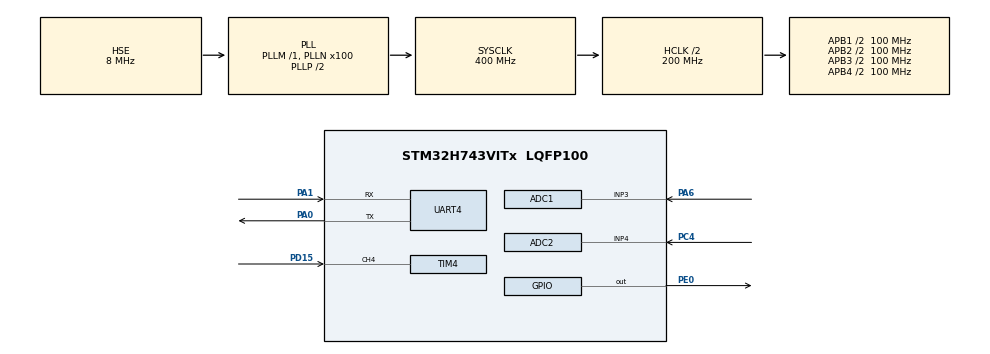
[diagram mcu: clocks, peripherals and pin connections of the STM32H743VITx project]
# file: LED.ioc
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ADC1.Channel-0\#ChannelRegularConversion=ADC_CHANNEL_3
ADC1.ConversionDataManagement=ADC_CONVERSIONDATA_DMA_CIRCULAR
ADC1.ExternalTrigConv=ADC_EXTERNALTRIG_T3_TRGO
ADC1.NbrOfConversion=1
ADC1.NbrOfConversionFlag=1
ADC1.OffsetNumber-0\#ChannelRegularConversion=ADC_OFFSET_NONE
ADC1.OversamplingMode=ENABLE
ADC1.Rank-0\#ChannelRegularConversion=1
ADC1.Ratio=1023
ADC1.RightBitShift=ADC_RIGHTBITSHIFT_10
ADC1.SamplingTime-0\#ChannelRegularConversion=ADC_SAMPLETIME_1CYCLE_5
ADC1.master=1
ADC2.Channel-1\#ChannelRegularConversion=ADC_CHANNEL_4
ADC2.ConversionDataManagement=ADC_CONVERSIONDATA_DMA_CIRCULAR
ADC2.ExternalTrigConv=ADC_EXTERNALTRIG_T4_CC4
ADC2.ExternalTrigConvEdge=ADC_EXTERNALTRIGCONVEDGE_FALLING
ADC2.NbrOfConversionFlag=1
ADC2.OffsetNumber-1\#ChannelRegularConversion=ADC_OFFSET_NONE
ADC2.Rank-1\#ChannelRegularConversion=1
ADC2.Resolution=ADC_RESOLUTION_8B
ADC2.SamplingTime-1\#ChannelRegularConversion=ADC_SAMPLETIME_1CYCLE_5
CORTEX_M7.CPU_DCache=Disabled
CORTEX_M7.CPU_ICache=Disabled
Dma.ADC1.0.Direction=DMA_PERIPH_TO_MEMORY
Dma.ADC1.0.EventEnable=DISABLE
Dma.ADC1.0.FIFOMode=DMA_FIFOMODE_DISABLE
Dma.ADC1.0.Instance=DMA1_Stream0
Dma.ADC1.0.MemDataAlignment=DMA_MDATAALIGN_HALFWORD
Dma.ADC1.0.MemInc=DMA_MINC_ENABLE
Dma.ADC1.0.Mode=DMA_CIRCULAR
Dma.ADC1.0.PeriphDataAlignment=DMA_PDATAALIGN_HALFWORD
Dma.ADC1.0.PeriphInc=DMA_PINC_DISABLE
Dma.ADC1.0.Polarity=HAL_DMAMUX_REQ_GEN_RISING
Dma.ADC1.0.Priority=DMA_PRIORITY_LOW
Dma.ADC1.0.RequestNumber=1
Dma.ADC1.0.SignalID=NONE
Dma.ADC1.0.SyncEnable=DISABLE
Dma.ADC1.0.SyncPolarity=HAL_DMAMUX_SYNC_NO_EVENT
Dma.ADC1.0.SyncRequestNumber=1
Dma.ADC1.0.SyncSignalID=NONE
Dma.ADC2.1.Direction=DMA_PERIPH_TO_MEMORY
Dma.ADC2.1.EventEnable=DISABLE
Dma.ADC2.1.FIFOMode=DMA_FIFOMODE_DISABLE
Dma.ADC2.1.Instance=DMA1_Stream1
Dma.ADC2.1.MemDataAlignment=DMA_MDATAALIGN_HALFWORD
Dma.ADC2.1.MemInc=DMA_MINC_ENABLE
Dma.ADC2.1.Mode=DMA_CIRCULAR
Dma.ADC2.1.PeriphDataAlignment=DMA_PDATAALIGN_HALFWORD
Dma.ADC2.1.PeriphInc=DMA_PINC_DISABLE
Dma.ADC2.1.Polarity=HAL_DMAMUX_REQ_GEN_RISING
Dma.ADC2.1.Priority=DMA_PRIORITY_LOW
Dma.ADC2.1.RequestNumber=1
Dma.ADC2.1.SignalID=NONE
Dma.ADC2.1.SyncEnable=DISABLE
Dma.ADC2.1.SyncPolarity=HAL_DMAMUX_SYNC_NO_EVENT
Dma.ADC2.1.SyncRequestNumber=1
Dma.ADC2.1.SyncSignalID=NONE
Dma.Request0=ADC1
Dma.Request1=ADC2
Mcu.Family=STM32H7
Mcu.Name=STM32H743VITx
Mcu.Package=LQFP100
NVIC.DMA1_Stream0_IRQn=true\:1\:0\:true\:false\:true\:false\:true
NVIC.DMA1_Stream1_IRQn=true\:0\:0\:false\:false\:true\:false\:true
NVIC.PriorityGroup=NVIC_PRIORITYGROUP_4
NVIC.TIM3_IRQn=true\:0\:0\:false\:false\:true\:true\:true
NVIC.UART4_IRQn=true\:0\:0\:false\:false\:true\:true\:true
PA0.Mode=Asynchronous
PA0.Signal=UART4_TX
PA1.Mode=Asynchronous
PA1.Signal=UART4_RX
PA11.Signal=GPXTI11
PA6.Signal=ADCx_INP3
PC4.Signal=ADCx_INP4
PD15.Signal=S_TIM4_CH4
PE0.Signal=GPIO_Output
PH0-OSC_IN\ (PH0).Mode=HSE-External-Oscillator
PH0-OSC_IN\ (PH0).Signal=RCC_OSC_IN
PH1-OSC_OUT\ (PH1).Mode=HSE-External-Oscillator
PH1-OSC_OUT\ (PH1).Signal=RCC_OSC_OUT
ProjectManager.HeapSize=0x200
ProjectManager.StackSize=0x400
ProjectManager.TargetToolchain=MDK-ARM V5
RCC.ADCFreq_Value=76000000
RCC.APB1Freq_Value=100000000
RCC.APB2Freq_Value=100000000
RCC.APB3Freq_Value=100000000
RCC.APB4Freq_Value=100000000
RCC.CortexFreq_Value=400000000
RCC.D1PPRE=RCC_APB3_DIV2
RCC.D2PPRE1=RCC_APB1_DIV2
RCC.D2PPRE2=RCC_APB2_DIV2
RCC.D3PPRE=RCC_APB4_DIV2
RCC.DIVM1=1
RCC.DIVM2=1
RCC.DIVN1=100
RCC.DIVN2=19
RCC.HCLKFreq_Value=200000000
RCC.HPRE=RCC_HCLK_DIV2
RCC.HSE_VALUE=8000000
RCC.PLLSourceVirtual=RCC_PLLSOURCE_HSE
RCC.PWR_Regulator_Voltage_Scale=PWR_REGULATOR_VOLTAGE_SCALE1
RCC.SYSCLKFreq_VALUE=400000000
RCC.SYSCLKSource=RCC_SYSCLKSOURCE_PLLCLK
RCC.USBFreq_Value=400000000
SH.ADCx_INP3.0=ADC1_INP3,IN3-Single-Ended
SH.ADCx_INP4.0=ADC2_INP4,IN4-Single-Ended
SH.S_TIM4_CH4.0=TIM4_CH4,Input_Capture4_from_TI4
TIM3.Period=1000-1
TIM3.Prescaler=100-1
TIM3.TIM_MasterOutputTrigger=TIM_TRGO_UPDATE
TIM3.TIM_MasterSlaveMode=TIM_MASTERSLAVEMODE_DISABLE
TIM4.Channel-Input_Capture4_from_TI4=TIM_CHANNEL_4
TIM4.Period=0xffff
TIM4.TIM_MasterOutputTrigger=TIM_TRGO_RESET
VP_TIM3_VS_ClockSourceINT.Mode=Internal
VP_TIM4_VS_ClockSourceINT.Mode=Internal
board=custom

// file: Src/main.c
/* USER CODE BEGIN Header */
/**
  ******************************************************************************
  * @file           : main.c
  * @brief          : Main program body
  ******************************************************************************
  ** This notice applies to any and all portions of this file
  * that are not between comment pairs USER CODE BEGIN and
  * USER CODE END. Other portions of this file, whether
  * inserted by the user or by software development tools
  * are owned by their respective copyright owners.
  *
  * COPYRIGHT(c) 2019 STMicroelectronics
  *
  * Redistribution and use in source and binary forms, with or without modification,
  * are permitted provided that the following conditions are met:
  *   1. Redistributions of source code must retain the above copyright notice,
  *      this list of conditions and the following disclaimer.
  *   2. Redistributions in binary form must reproduce the above copyright notice,
  *      this list of conditions and the following disclaimer in the documentation
  *      and/or other materials provided with the distribution.
  *   3. Neither the name of STMicroelectronics nor the names of its contributors
  *      may be used to endorse or promote products derived from this software
  *      without specific prior written permission.
  *
  * THIS SOFTWARE IS PROVIDED BY THE COPYRIGHT HOLDERS AND CONTRIBUTORS "AS IS"
  * AND ANY EXPRESS OR IMPLIED WARRANTIES, INCLUDING, BUT NOT LIMITED TO, THE
  * IMPLIED WARRANTIES OF MERCHANTABILITY AND FITNESS FOR A PARTICULAR PURPOSE ARE
  * DISCLAIMED. IN NO EVENT SHALL THE COPYRIGHT HOLDER OR CONTRIBUTORS BE LIABLE
  * FOR ANY DIRECT, INDIRECT, INCIDENTAL, SPECIAL, EXEMPLARY, OR CONSEQUENTIAL
  * DAMAGES (INCLUDING, BUT NOT LIMITED TO, PROCUREMENT OF SUBSTITUTE GOODS OR
  * SERVICES; LOSS OF USE, DATA, OR PROFITS; OR BUSINESS INTERRUPTION) HOWEVER
  * CAUSED AND ON ANY THEORY OF LIABILITY, WHETHER IN CONTRACT, STRICT LIABILITY,
  * OR TORT (INCLUDING NEGLIGENCE OR OTHERWISE) ARISING IN ANY WAY OUT OF THE USE
  * OF THIS SOFTWARE, EVEN IF ADVISED OF THE POSSIBILITY OF SUCH DAMAGE.
  *
  ******************************************************************************
  */
/* USER CODE END Header */

#include "main.h"
#include "adc.h"
#include "dma.h"
#include "tim.h"
#include "usart.h"
#include "gpio.h"

/* USER CODE BEGIN Includes */
#include "arm_math.h"
#include "bdma.h"
#include "lptim.h"
#include "DDS.h"
#include "arm_fir_example_f32.h"
#include "arm_iir_example_f32.h"
#include "dpsk_mod.h"
/* USER CODE END Includes */

void SystemClock_Config(void);
/* USER CODE BEGIN PFP */
u8 buffer[100];
/* USER CODE END PFP */

/* USER CODE BEGIN 0 */
void SysTick_interrupt()			//1ms
{
//	static u32 i;
//	if(i==10)
//	{
//		HAL_UART_Receive(&huart4, (uint8_t *)&buffer, 7, 0xFFFF);
// 		i=0;
//	}
//	i++;
}
/* USER CODE END 0 */

int main(void)
{
  /* USER CODE BEGIN 1 */
  /* Enable I-Cache---------------------------------------------------------*/
//  SCB_EnableICache();

//  /* Enable D-Cache---------------------------------------------------------*/
//  SCB_EnableDCache();
  /* USER CODE END 1 */

  /* MCU Configuration--------------------------------------------------------*/

  /* Reset of all peripherals, Initializes the Flash interface and the Systick. */
  HAL_Init();

  /* Configure the system clock */
  SystemClock_Config();

  /* Initialize all configured peripherals */
  MX_GPIO_Init();
  MX_DMA_Init();
  MX_ADC1_Init();
  MX_TIM3_Init();
  MX_UART4_Init();
  MX_ADC2_Init();
  MX_TIM4_Init();
  /* USER CODE BEGIN 2 */
//  ADC_Tim3_START();		//fs = 2k
  InitSinTable();

  HAL_Delay(2);
  Phase_init();

  SendOneFrameDPSK(0x19D73);

  DDS_init();

//   HAL_Delay(2);

//  SendOneFrameDPSK(0x4567);
// SendOneFrameDPSK(0x19A34);
//
// SendZero(0);
//  HAL_Delay(2);
//SendOneFrameDPSK(0x4567);
//  HAL_Delay(2);
// SendZero(0);

  /* USER CODE END 2 */

  /* Infinite loop */
  while (1)
  {

    /* USER CODE BEGIN 3 */
	  HAL_Delay(100);
  }
  /* USER CODE END 3 */
}

void SystemClock_Config(void)
{
  RCC_OscInitTypeDef RCC_OscInitStruct = {0};
  RCC_ClkInitTypeDef RCC_ClkInitStruct = {0};
  RCC_PeriphCLKInitTypeDef PeriphClkInitStruct = {0};

  /** Supply configuration update enable
  */
  HAL_PWREx_ConfigSupply(PWR_LDO_SUPPLY);
  /** Configure the main internal regulator output voltage
  */
  __HAL_PWR_VOLTAGESCALING_CONFIG(PWR_REGULATOR_VOLTAGE_SCALE1);

  while(!__HAL_PWR_GET_FLAG(PWR_FLAG_VOSRDY)) {}
  /** Macro to configure the PLL clock source
  */
  __HAL_RCC_PLL_PLLSOURCE_CONFIG(RCC_PLLSOURCE_HSE);
  /** Initializes the CPU, AHB and APB busses clocks
  */
  RCC_OscInitStruct.OscillatorType = RCC_OSCILLATORTYPE_HSE;
  RCC_OscInitStruct.HSEState = RCC_HSE_ON;
  RCC_OscInitStruct.PLL.PLLState = RCC_PLL_ON;
  RCC_OscInitStruct.PLL.PLLSource = RCC_PLLSOURCE_HSE;
  RCC_OscInitStruct.PLL.PLLM = 1;
  RCC_OscInitStruct.PLL.PLLN = 100;
  RCC_OscInitStruct.PLL.PLLP = 2;
  RCC_OscInitStruct.PLL.PLLQ = 2;
  RCC_OscInitStruct.PLL.PLLR = 2;
  RCC_OscInitStruct.PLL.PLLRGE = RCC_PLL1VCIRANGE_3;
  RCC_OscInitStruct.PLL.PLLVCOSEL = RCC_PLL1VCOWIDE;
  RCC_OscInitStruct.PLL.PLLFRACN = 0;
  if (HAL_RCC_OscConfig(&RCC_OscInitStruct) != HAL_OK)
  {
    Error_Handler();
  }
  /** Initializes the CPU, AHB and APB busses clocks
  */
  RCC_ClkInitStruct.ClockType = RCC_CLOCKTYPE_HCLK|RCC_CLOCKTYPE_SYSCLK
                              |RCC_CLOCKTYPE_PCLK1|RCC_CLOCKTYPE_PCLK2
                              |RCC_CLOCKTYPE_D3PCLK1|RCC_CLOCKTYPE_D1PCLK1;
  RCC_ClkInitStruct.SYSCLKSource = RCC_SYSCLKSOURCE_PLLCLK;
  RCC_ClkInitStruct.SYSCLKDivider = RCC_SYSCLK_DIV1;
  RCC_ClkInitStruct.AHBCLKDivider = RCC_HCLK_DIV2;
  RCC_ClkInitStruct.APB3CLKDivider = RCC_APB3_DIV2;
  RCC_ClkInitStruct.APB1CLKDivider = RCC_APB1_DIV2;
  RCC_ClkInitStruct.APB2CLKDivider = RCC_APB2_DIV2;
  RCC_ClkInitStruct.APB4CLKDivider = RCC_APB4_DIV2;

  if (HAL_RCC_ClockConfig(&RCC_ClkInitStruct, FLASH_LATENCY_2) != HAL_OK)
  {
    Error_Handler();
  }
  PeriphClkInitStruct.PeriphClockSelection = RCC_PERIPHCLK_UART4|RCC_PERIPHCLK_ADC;
  PeriphClkInitStruct.PLL2.PLL2M = 1;
  PeriphClkInitStruct.PLL2.PLL2N = 19;
  PeriphClkInitStruct.PLL2.PLL2P = 2;
  PeriphClkInitStruct.PLL2.PLL2Q = 2;
  PeriphClkInitStruct.PLL2.PLL2R = 2;
  PeriphClkInitStruct.PLL2.PLL2RGE = RCC_PLL2VCIRANGE_3;
  PeriphClkInitStruct.PLL2.PLL2VCOSEL = RCC_PLL2VCOMEDIUM;
  PeriphClkInitStruct.PLL2.PLL2FRACN = 0;
  PeriphClkInitStruct.Usart234578ClockSelection = RCC_USART234578CLKSOURCE_D2PCLK1;
  PeriphClkInitStruct.AdcClockSelection = RCC_ADCCLKSOURCE_PLL2;
  if (HAL_RCCEx_PeriphCLKConfig(&PeriphClkInitStruct) != HAL_OK)
  {
    Error_Handler();
  }
}

void Error_Handler(void)
{
}

/************************ (C) COPYRIGHT STMicroelectronics *****END OF FILE****/
